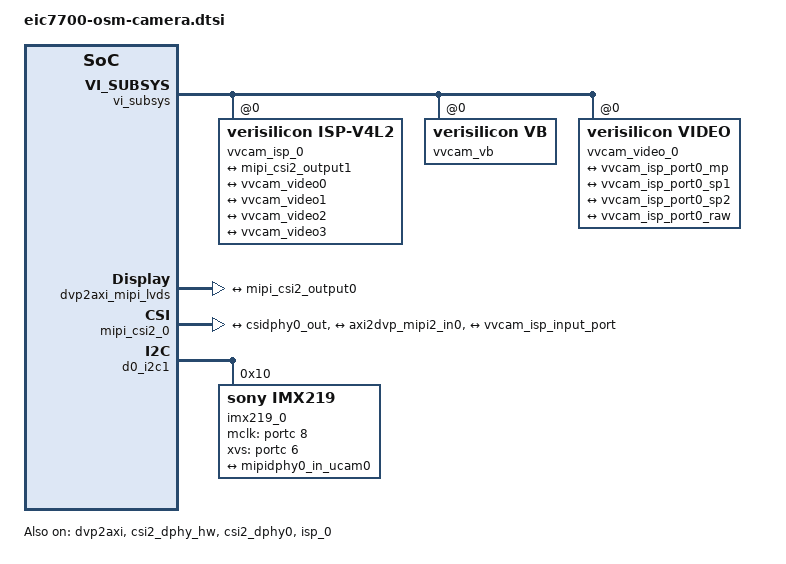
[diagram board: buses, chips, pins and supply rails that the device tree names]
&vi_subsys {
	board_compat = "eic7700,dvb_vi";
	eswin,isp_dvp0_hor = <3280>;
	eswin,isp_dvp0_ver = <2464>;
	phy_mode = <2>; //5: 6x2lanes, 2: 3x4lanes
	vvcam_isp_0: vvcam_isp@0 {
		compatible = "verisilicon,isp-v4l2";
		id = <0>;
		status = "okay";
		dma-noncoherent;
		ports {
			#address-cells = <1>;
			#size-cells = <0>;

			port@0 {
				#address-cells = <1>;
				#size-cells = <0>;
				reg = <0>;
				vvcam_isp_input_port: endpoint@0 {
					remote-endpoint = <&mipi_csi2_output1>;
				};
			};

			port@1 {
				reg = <1>;
				vvcam_isp_port0_mp: endpoint {
					remote-endpoint = <&vvcam_video0>;
				};
			};

			port@2 {
				reg = <2>;
				vvcam_isp_port0_sp1: endpoint {
					remote-endpoint = <&vvcam_video1>;
				};
			};

			port@3 {
				reg = <3>;
				vvcam_isp_port0_sp2: endpoint {
					remote-endpoint = <&vvcam_video2>;
				};
			};

			port@4 {
				reg = <4>;
				vvcam_isp_port0_raw: endpoint {
					remote-endpoint = <&vvcam_video3>;
				};
			};
		};
	};

	vvcam_vb: vvcam-vb@0 {
		compatible = "verisilicon,vb";
		status = "okay";
		#size-cells = <2>;
		dma-noncoherent;
		dma-ranges = <0x0 0x20000000 0x0 0x80000000 0x0 0x40000000>;
		iommus = <&smmu0 WIN2030_SID_ISP0>;
	};

	vvcam_video_0: vvcam_video@0 {
		compatible = "verisilicon,video";
		id = <0>;
		status = "okay";
		#size-cells = <2>;
		dma-noncoherent;
		dma-ranges = <0x0 0x20000000 0x0 0x80000000 0x0 0x40000000>;
		iommus = <&smmu0 WIN2030_SID_ISP0>;

		ports {
			#address-cells = <1>;
			#size-cells = <0>;

			port@0 {
				reg = <0>;
				vvcam_video0: endpoint {
					remote-endpoint = <&vvcam_isp_port0_mp>;
				};
			};

			port@1 {
				reg = <1>;
				vvcam_video1: endpoint {
					remote-endpoint = <&vvcam_isp_port0_sp1>;
				};
			};

			port@2 {
				reg = <2>;
				vvcam_video2: endpoint {
					remote-endpoint = <&vvcam_isp_port0_sp2>;
				};
			};

			port@3 {
				reg = <3>;
				vvcam_video3: endpoint {
					remote-endpoint = <&vvcam_isp_port0_raw>;
				};
			};
		};
	};
};

&dvp2axi {
	status = "okay";
};

&dvp2axi_mipi_lvds {
	status = "okay";
	dvp2axi_id = <0>;
	port@0 {
		axi2dvp_mipi2_in0: endpoint@0 {
			remote-endpoint = <&mipi_csi2_output0>;
		};
	};
};

&dvp2axi_mipi_lvds1 {
	status = "disabled";
	dvp2axi_id = <1>;
};

&dvp2axi_mipi_lvds2 {
	status = "disabled";
	dvp2axi_id = <2>;
	port@0 {
		axi2dvp_mipi2_in2: endpoint@0 {
			remote-endpoint = <&mipi_csi2_2_output0>;
		};
	};
};



&mipi_csi2_0 {
	num_lanes = <4>;
	snps,en-ppi-width = <1>; // 1: 16-bit, 0: 8-bit
	status = "okay";
	ports {
		#address-cells = <1>;
		#size-cells = <0>;

		port@0 {
			reg = <0>;
			#address-cells = <1>;
			#size-cells = <0>;

			mipi0_csi2_input: endpoint@0 {
				remote-endpoint = <&csidphy0_out>;
			};
		};

		port@1 {
			reg = <1>;
			#address-cells = <1>;
			#size-cells = <0>;

			mipi_csi2_output0: endpoint@1 {
				remote-endpoint = <&axi2dvp_mipi2_in0>;
			};
		};
		port@2 {
			reg = <2>;
			#address-cells = <1>;
			#size-cells = <0>;

			mipi_csi2_output1: endpoint@2 {
				remote-endpoint = <&vvcam_isp_input_port>;
			};
		};
	};
};

&mipi_csi2_2 {
	num_lanes = <4>;
	snps,en-ppi-width = <1>; // 1: 16-bit, 0: 8-bit
	status = "disabled";
	ports {
		#address-cells = <1>;
		#size-cells = <0>;

		port@0 {
			reg = <0>;
			#address-cells = <1>;
			#size-cells = <0>;

			mipi_csi2_2_input: endpoint@0 {
				remote-endpoint = <&csidphy2_out>;
			};
		};

		port@1 {
			reg = <1>;
			#address-cells = <1>;
			#size-cells = <0>;

			mipi_csi2_2_output0: endpoint@1 {
				remote-endpoint = <&axi2dvp_mipi2_in2>;
			};
		};
	};
};




&csi2_dphy_hw {
	lanes = <1 2 3 4>;
	status = "okay";
};

&csi2_dphy0 {
	status = "okay";
	ports {
		#address-cells = <1>;
		#size-cells = <0>;

		port@0 {
			reg = <0>;
			#address-cells = <1>;
			#size-cells = <0>;

			mipidphy0_in_ucam0: endpoint@0 {
				reg = <0>;
				remote-endpoint = <&imx219_out0>;
			};
		};

		port@1 {
			reg = <1>;
			#address-cells = <1>;
			#size-cells = <0>;

			csidphy0_out: endpoint@1 {
				reg = <1>;
				remote-endpoint = <&mipi0_csi2_input>;
			};
		};
	};
};

&csi2_dphy_hw2 {
	lanes = <1 2 3 4>;
	status = "disabled";
};

&csi2_dphy2 {
	status = "disabled";
	ports {
		#address-cells = <1>;
		#size-cells = <0>;

		port@0 {
			reg = <0>;
			#address-cells = <1>;
			#size-cells = <0>;

			mipidphy2_in_ucam0: endpoint@0 {
				reg = <0>;
				remote-endpoint = <&imx219_out2>;
				data-lanes = <1 2 3 4>;
			};
		};

		port@1 {
			reg = <1>;
			#address-cells = <1>;
			#size-cells = <0>;

			csidphy2_out: endpoint@1 {
				reg = <1>;
				remote-endpoint = <&mipi_csi2_2_input>;
			};
		};
	};
};

&d0_i2c1 {
	status = "okay";
	imx219_0: imx219@10 {
		compatible = "sony,imx219";
		status = "okay";
		address-cells = <1>;
		size-cells = <0>;
		reg = <0x10>;

		pinctrl-names = "default";
		pinctrl-0 = <&pinctrl_gpio72_default &pinctrl_gpio70_default>;
		mclk-gpios = <&portc 8 GPIO_ACTIVE_HIGH>;
		xvs-gpios = <&portc 6 GPIO_ACTIVE_HIGH>;

		eswin,camera-module-index = <0>;
		eswin,camera-module-facing = "back";
		eswin,camera-module-name = "rpi-camera-v2";
		eswin,camera-module-lens-name = "default";

		port {
			imx219_out0: endpoint {
				remote-endpoint = <&mipidphy0_in_ucam0>;
				data-lanes = <1 2 3 4>;
				link-frequencies = /bits/ 64 <364000000>;
			};
		};
	};
};

&d0_aon_i2c0 {
	status = "disabled";
	imx219_1: imx219@10 {
		compatible = "sony,imx219";
		status = "disabled";
		address-cells = <1>;
		size-cells = <0>;
		reg = <0x10>;

		pinctrl-names = "default";
		pinctrl-0 = <&pinctrl_gpio78_default>;
		mclk-gpios = <&portc 14 GPIO_ACTIVE_HIGH>;

		eswin,camera-module-index = <0>;
		eswin,camera-module-facing = "back";
		eswin,camera-module-name = "rpi-camera-v2";
		eswin,camera-module-lens-name = "default";

		port {
			imx219_out2: endpoint {
				remote-endpoint = <&mipidphy2_in_ucam0>;
				data-lanes = <1 2 3 4>;
				link-frequencies = /bits/ 64 <364000000>;
			};
		};
	};
};

&isp_0 {
	status = "okay";
};

&isp_1 {
	status = "disabled";
};
